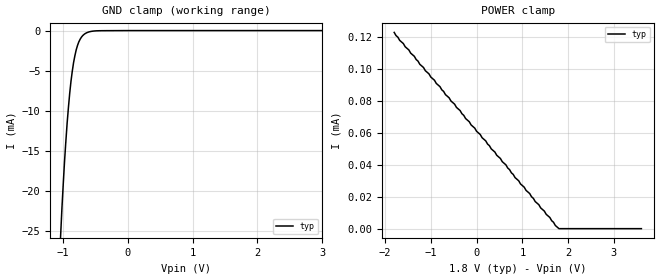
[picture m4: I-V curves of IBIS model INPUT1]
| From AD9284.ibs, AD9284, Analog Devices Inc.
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[Model] INPUT1
Model_type Input
C_comp 3pF NA NA
Vinl =0.36
Vinh =1.44
| variable   typ   min   max
[Voltage Range]   1.800V  NA   NA
[GND Clamp Reference]   0.000V  NA   NA
[POWER Clamp Reference] 1.800V  NA   NA
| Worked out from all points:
|   GND clamp passes 1 mA (typ) near -0.73 V on its own axis
[GND Clamp]
| Voltage   I(typ)   I(min)  I(max)
-1.8V     -232mA     NA         NA
-1.04V    -25.51mA   NA         NA
-980mV    -16.33mA   NA         NA
-960mV    -13.87mA   NA         NA
-920mV    -9.604mA   NA         NA
-880mV    -6.299mA   NA         NA
-840mV    -3.979mA   NA         NA
-780mV    -1.87mA    NA         NA
-720mV    -834uA     NA         NA
-660mV    -369uA     NA         NA
-400mV    -15uA      NA         NA
3.6V      0A         NA         NA
[POWER Clamp]
| Voltage   I(typ)   I(min)  I(max)
-1.8V     123uA      NA         NA
-1.68V    118uA      NA         NA
-1.36V    108uA      NA         NA
-1.24V    103uA      NA         NA
-800mV    89uA       NA         NA
-680mV    84uA       NA         NA
-360mV    74uA       NA         NA
-240mV    69uA       NA         NA
200mV     55uA       NA         NA
840mV     32uA       NA         NA
1.8V      0A         NA         NA
3.6V      0A         NA         NA
